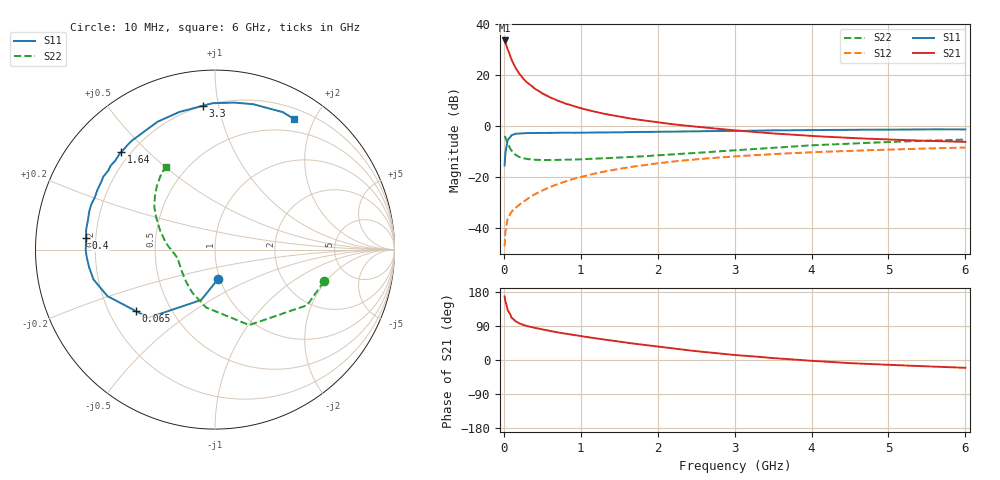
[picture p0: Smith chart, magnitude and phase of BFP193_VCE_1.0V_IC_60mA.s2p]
! Infineon Technologies  Discrete & RF Semiconductors
! BFP193
! VCE = 1.0 V,  IC =  60 mA
! Common Emitter S-Parameters:  Jan 2016
# GHz  S  MA  R  50
!  f  S11  S21  S12  S22
! GHz  MAG  ANG  MAG  ANG  MAG  ANG  MAG  ANG
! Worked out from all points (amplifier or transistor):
!   210 points, 10 MHz to 6 GHz, reference 50 ohm
!   highest |S21| = 33.6 dB at 10 MHz (marker M1)
!   |S21| within 3 dB of that: start of sweep to 44.77 MHz
!   unconditionally stable (mu >= 1): start of sweep to 16.06 MHz; 236.6 MHz to end of sweep
!   at 185 MHz: K = 0.90, MSG = 26.4 dB, |S12| = -31.4 dB
!   at 1.52 GHz: K = 1.21, MAG = 7.4 dB, |S12| = -16.8 dB
!   at 6 GHz: K = 1.06, MAG = -0.4 dB, |S12| = -8.5 dB
!   S11 on the Smith chart (normalised r, x): 10 MHz: 0.98, -0.33; 65 MHz: 0.32, -0.31; 400 MHz: 0.16, +0.04; 1.64 GHz: 0.17, +0.41; 3.3 GHz: 0.20, +0.90; 6 GHz: 0.33, +1.73
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0.01  0.1655 -84.3  47.8 167.3  0.0043 68.3  0.6326 -16.2
0.02  0.2909 -105.3  44.12 155.0  0.0081 65.4  0.5998 -31.1
0.05  0.53 -134.3  32.31 130.9  0.0149 53.3  0.4617 -65.6
0.065  0.5572 -142.0  28.3 126.9  0.0165 51.6  0.4086 -73.1
0.1  0.6528 -156.6  19.83 111.7  0.0204 48.6  0.3263 -98.8
0.15  0.6973 -166.2  13.9 102.3  0.0242 51.0  0.2711 -117.8
0.2  0.7084 -172.1  10.66 96.6  0.028 53.6  0.2446 -129.7
0.26  0.7172 -177.4  8.261 92.1  0.0327 56.6  0.2289 -139.7
0.3  0.7202 -179.7  7.157 89.6  0.0361 59.1  0.2233 -144.3
0.4  0.7222 174.8  5.422 84.7  0.0449 61.2  0.2156 -152.8
0.5  0.7265 171.0  4.352 80.6  0.0532 63.4  0.2129 -158.1
0.6  0.7266 167.0  3.635 76.6  0.0626 63.7  0.2129 -161.8
0.8  0.7339 160.0  2.748 69.5  0.0804 63.6  0.2157 -167.0
1.02  0.7349 152.5  2.185 62.6  0.1005 62.1  0.2206 -170.8
1.3  0.7397 143.6  1.732 54.0  0.1257 58.9  0.2298 -175.1
1.64  0.7534 134.0  1.397 44.6  0.1546 54.8  0.2441 -179.7
2.02  0.7646 123.8  1.161 34.9  0.1848 49.3  0.2639 175.0
3.1  0.7969 98.5  0.793 11.7  0.2564 33.7  0.338 157.6
3.3  0.8046 94.7  0.75 8.6  0.2672 31.0  0.3537 154.6
4.1  0.8273 81.0  0.621 -3.3  0.3066 20.6  0.4206 143.4
5.1  0.8436 68.1  0.532 -13.5  0.3442 9.1  0.4866 131.1
6  0.8502 58.7  0.484 -20.6  0.375 -0.9  0.5381 120.8
